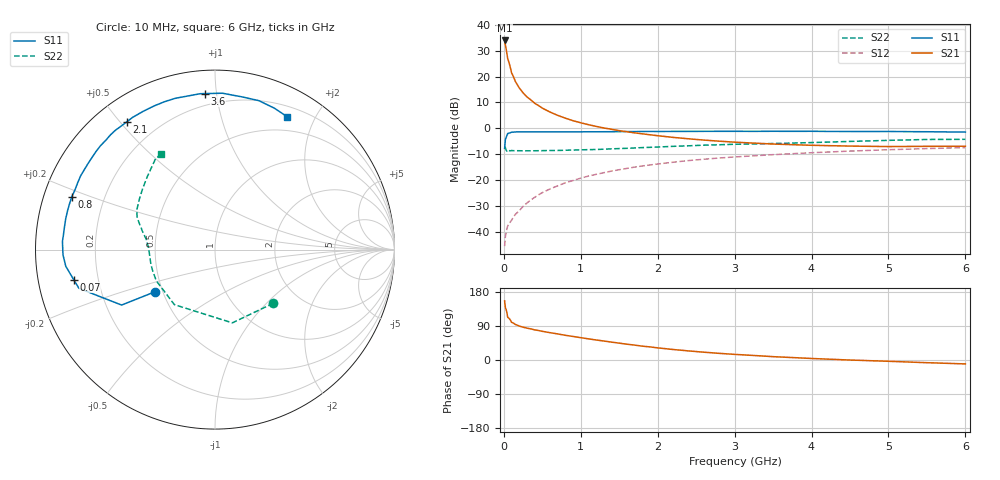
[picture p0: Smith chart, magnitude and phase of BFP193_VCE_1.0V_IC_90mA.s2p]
! Infineon Technologies  Discrete & RF Semiconductors
! BFP193
! VCE =  1.0 V,  IC =  90 mA
! Common Emitter S-Parameters:  Jan 2017
# GHz  S  MA  R  50
!  f  S11  S21  S12  S22
! GHz  MAG  ANG  MAG  ANG  MAG  ANG  MAG  ANG
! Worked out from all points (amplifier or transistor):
!   77 points, 10 MHz to 6 GHz, reference 50 ohm
!   highest |S21| = 34.0 dB at 10 MHz (marker M1)
!   |S21| within 3 dB of that: start of sweep to 28.15 MHz
!   unconditionally stable (mu >= 1): start of sweep to 15.77 MHz; 149.7 MHz to end of sweep
!   at 130 MHz: K = 0.95, MSG = 26.9 dB, |S12| = -34.2 dB
!   at 2.2 GHz: K = 1.09, MAG = 2.9 dB, |S12| = -13.2 dB
!   at 6 GHz: K = 1.08, MAG = -1.5 dB, |S12| = -7.5 dB
!   S11 on the Smith chart (normalised r, x): 10 MHz: 0.46, -0.26; 70 MHz: 0.11, -0.10; 800 MHz: 0.08, +0.18; 2.1 GHz: 0.09, +0.52; 3.6 GHz: 0.13, +0.93; 6 GHz: 0.32, +1.63
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0.01  0.4059 -144.8  50.02 156.0  0.0052 63.2  0.4415 -42.6
0.02  0.605 -149.3  41.08 138.2  0.008 56.9  0.4194 -76.7
0.04  0.7222 -160.0  27.82 125.0  0.0112 48.6  0.3607 -109.2
0.05  0.7881 -164.1  22.24 112.8  0.0128 46.0  0.3812 -126.4
0.07  0.8048 -168.0  17.99 109.3  0.0143 49.1  0.3679 -136.4
0.1  0.8365 -173.6  11.86 99.5  0.0165 52.7  0.3704 -152.0
0.15  0.8473 -178.0  8.027 93.8  0.0215 58.2  0.3667 -161.8
0.2  0.8487 179.3  6.043 89.7  0.0252 62.9  0.3663 -167.0
0.25  0.8512 176.8  4.841 86.6  0.0306 64.7  0.3653 -170.3
0.3  0.8486 174.9  4.04 84.1  0.0356 66.4  0.3651 -172.9
0.4  0.8482 171.3  3.05 79.6  0.0458 69.1  0.3659 -176.0
0.5  0.8494 168.2  2.45 75.7  0.0566 68.6  0.3675 -178.5
0.6  0.8496 165.2  2.056 72.1  0.0667 68.9  0.3709 179.6
0.8  0.8501 159.7  1.563 65.2  0.0877 68.0  0.3743 176.5
1.1  0.8539 151.2  1.17 55.8  0.1185 64.4  0.3846 172.6
1.5  0.859 140.5  0.897 44.5  0.1572 58.9  0.4033 168.0
2.1  0.8652 124.5  0.69 29.9  0.211 49.5  0.4388 162.1
3.1  0.8699 102.8  0.528 13.7  0.2833 34.5  0.4916 151.7
3.6  0.8711 93.8  0.488 7.9  0.3127 27.9  0.5092 145.3
4.1  0.8695 85.8  0.464 3.2  0.3401 21.3  0.5324 138.3
5.1  0.8621 72.3  0.442 -4.1  0.387 9.2  0.5865 126.2
6  0.8424 61.5  0.448 -10.3  0.421 -1.1  0.6094 119.5
